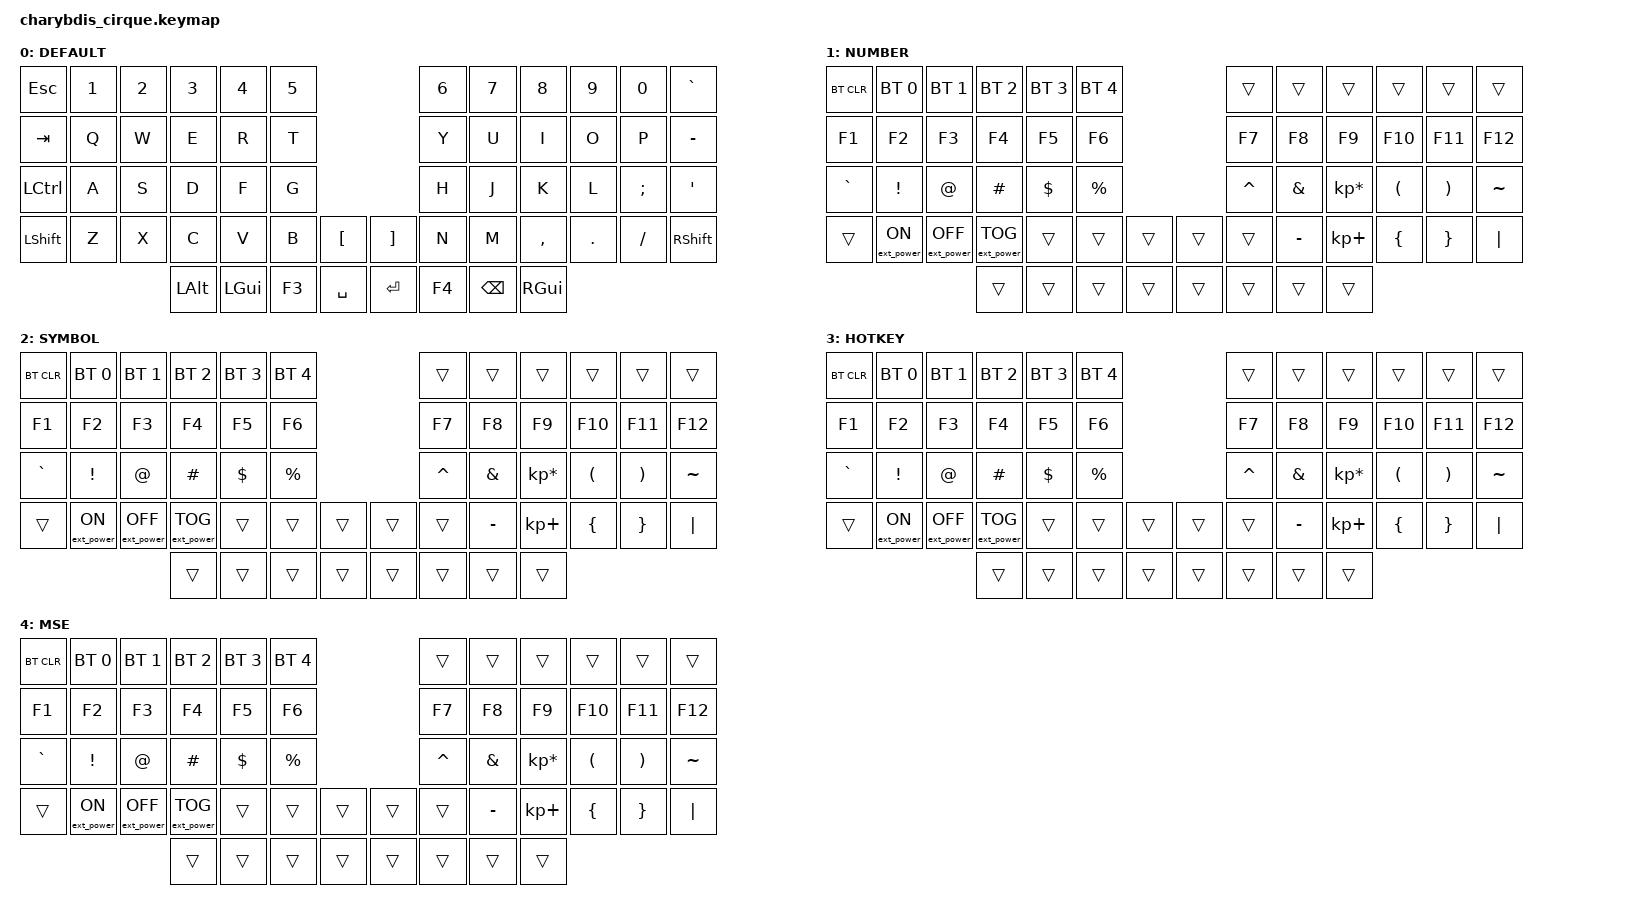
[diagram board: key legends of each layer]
#include <behaviors.dtsi>
#include <dt-bindings/zmk/mouse.h>
#include <dt-bindings/zmk/keys.h>
#include <dt-bindings/zmk/bt.h>
#include <dt-bindings/zmk/outputs.h>

// mouse move settings
#define MMV_U MOVE_VERT(-650)
#define MMV_D MOVE_VERT(650)
#define MMV_L MOVE_HOR(-650)
#define MMV_R MOVE_HOR(650)

&mmv {    
        time-to-max-speed-ms = <500>;
        acceleration-exponent=<1>;
};

// mouse wheel settings
#define MWH_U SCROLL_VERT(15)
#define MWH_D SCROLL_VERT(-15)
#define MWH_L SCROLL_HOR(-15)
#define MWH_R SCROLL_HOR(15)

&mwh {    
        time-to-max-speed-ms = <2000>;
        acceleration-exponent=<0>;
};

#define DEFAULT 0
#define NUMBER  1
#define SYMBOL  2
#define HOTKEY  3
#define MSE     4

#define AS(keycode) &as LS(keycode) keycode

/ {
        behaviors {
        td0: tap_dance_0 {
            compatible = "zmk,behavior-tap-dance";
            label = "TAP_DANCE_0";
            #binding-cells = <0>;
            tapping-term-ms = <200>;
            bindings = <&kp ESC>, <&kp TAB>;
        };
    };  

         behaviors {
       as: auto_shift {
        compatible = "zmk,behavior-hold-tap";
        label = "AUTO_SHIFT";
        #binding-cells = <2>;
        tapping-term-ms = <200>;
        quick-tap-ms = <0>;
        flavor = "tap-preferred";
        bindings = <&kp>, <&kp>;
                };             
modcp: mod_copy {
        compatible = "zmk,behavior-mod-morph";
        label = "MOD_COPY";
        #binding-cells = <0>;
        bindings = <&as LS(C) C>, <&kp C>;
        mods = <(LGUI | RGUI)>;
};
        };


    macros {
        macro_phone: macro_phone {
            // 1351
            label = "MACRO_PHONE";
            compatible = "zmk,behavior-macro";
            #binding-cells = <0>;
            bindings
                = < &kp N1 &kp N3 &kp N5  &kp N1>
                ;
        };
        macro_email_q: macro_email_q {
            // 2894512440@qq.com
            label = "MACRO_EMAIL_QQ";
            compatible = "zmk,behavior-macro";
            #binding-cells = <0>;
            bindings 
                = < &kp N2 &kp N8 &kp N9 &kp N4 &kp N5 &kp  N1 &kp N2 &kp N4 &kp N4 &kp N0 
                    &kp AT &kp Q &kp Q &kp DOT  &kp C &kp O &kp M>
                ;
        };
        macro_email_g: macro_email_g {
            // 135115
            compatible = "zmk,behavior-macro";
            label = "MACRO_EMAIL_GMAIL";
            #binding-cells = <0>;
            bindings
                = < &kp N1 &kp N3 &kp N5  &kp N1 &kp N1 &kp N5 > ;
        };
       
    };
    
     combos {
        compatible = "zmk,combos";
        combo_esc {
            timeout-ms = <50>;
            key-positions = <2 38>;
            bindings = <&kp TAB>;
        };
             combo_rgui {
            timeout-ms = <50>;
            key-positions = <3 38>;
            bindings = <&kp CAPS>;
        };
        
         combo_LSHFT {
            timeout-ms = <50>;
            key-positions = <14 38>;
            bindings = <&kp  LSHFT>;
        };
       
         combo_2 {
            timeout-ms = <50>;
            key-positions = <15 38>;
            bindings = <&kp N2 >;
        };
         combo_3 {
            timeout-ms = <50>;
            key-positions = <16 38>;
            bindings = <&kp N3>;
        };
            combo_LGUI {
            timeout-ms = <50>;
            key-positions = <26 38>;
            bindings = <&kp LGUI>;
        };
              combo_GUI {
            timeout-ms = <50>;
            key-positions = <27 38>;
            bindings = <&tog 1>;
        };
                  combo_G {
            timeout-ms = <50>;
            key-positions = <14 39>;
            bindings = <&mo 4>;
        };
                  combo_GU {
            timeout-ms = <50>;
            key-positions = <14 39>;
            bindings = <&mo 2>;
        };
                      combo_m {
            timeout-ms = <50>;
            key-positions = <21 41>;
            bindings = <&mo 4>;
        };
        
  
   };



    keymap {
       compatible = "zmk,keymap";
       default_layer {
            label = "DEFAULT";
            bindings = <
&kp ESC   &kp N1 &kp N2 &kp N3   &kp N4   &kp N5                     &kp N6 &kp N7   &kp N8    &kp N9  &kp N0   &kp GRAVE
&kp TAB   &kp Q  &kp W  &kp E    &kp R    &kp T                      &kp Y  &kp U    &kp I     &kp O   &kp P    &kp MINUS
&kp LCTRL &kp A  &kp S  &kp D    &kp F    &kp G                      &kp H  &kp J    &kp K     &kp L   &kp SEMI &kp SQT
&kp LSHFT &kp Z  &kp X  &kp C    &kp V    &kp B  &kp LBKT   &kp RBKT &kp N  &kp M    &kp COMMA &kp DOT &kp FSLH &kp RSHFT
                        &kp LALT &kp LGUI &kp F3 &kp SPACE  &kp RET  &kp F4 &kp BSPC &kp RGUI
            >;
        };  


          number_layer {
            label = "NUMBER";
            bindings = <
&bt BT_CLR &bt BT_SEL 0     &bt BT_SEL 1      &bt BT_SEL 2      &bt BT_SEL 3 &bt BT_SEL 4                 &trans    &trans    &trans          &trans    &trans    &trans
&kp F1     &kp F2           &kp F3            &kp F4            &kp F5       &kp F6                       &kp F7    &kp F8    &kp F9          &kp F10   &kp F11   &kp F12
&kp GRAVE  &kp EXCL         &kp AT            &kp HASH          &kp DOLLAR   &kp PRCNT                    &kp CARET &kp AMPS  &kp KP_MULTIPLY &kp LPAR  &kp RPAR  &kp TILDE
&trans     &ext_power EP_ON &ext_power EP_OFF &ext_power EP_TOG &trans       &trans    &trans   &trans    &trans    &kp MINUS &kp KP_PLUS     &kp LBRC  &kp RBRC  &kp PIPE
                                              &trans            &trans       &trans    &trans   &trans    &trans    &trans    &trans
            >;
        };

        symbol_layer {
            label = "SYMBOL";
            bindings = <
&bt BT_CLR &bt BT_SEL 0     &bt BT_SEL 1      &bt BT_SEL 2      &bt BT_SEL 3 &bt BT_SEL 4                 &trans    &trans    &trans          &trans    &trans    &trans
&kp F1     &kp F2           &kp F3            &kp F4            &kp F5       &kp F6                       &kp F7    &kp F8    &kp F9          &kp F10   &kp F11   &kp F12
&kp GRAVE  &kp EXCL         &kp AT            &kp HASH          &kp DOLLAR   &kp PRCNT                    &kp CARET &kp AMPS  &kp KP_MULTIPLY &kp LPAR  &kp RPAR  &kp TILDE
&trans     &ext_power EP_ON &ext_power EP_OFF &ext_power EP_TOG &trans       &trans    &trans   &trans    &trans    &kp MINUS &kp KP_PLUS     &kp LBRC  &kp RBRC  &kp PIPE
                                              &trans            &trans       &trans    &trans   &trans    &trans    &trans    &trans
            >;
        };


        hotkey_layer {
            label = "HOTKEY";
            bindings = <
&bt BT_CLR &bt BT_SEL 0     &bt BT_SEL 1      &bt BT_SEL 2      &bt BT_SEL 3 &bt BT_SEL 4                 &trans    &trans    &trans          &trans    &trans    &trans
&kp F1     &kp F2           &kp F3            &kp F4            &kp F5       &kp F6                       &kp F7    &kp F8    &kp F9          &kp F10   &kp F11   &kp F12
&kp GRAVE  &kp EXCL         &kp AT            &kp HASH          &kp DOLLAR   &kp PRCNT                    &kp CARET &kp AMPS  &kp KP_MULTIPLY &kp LPAR  &kp RPAR  &kp TILDE
&trans     &ext_power EP_ON &ext_power EP_OFF &ext_power EP_TOG &trans       &trans    &trans   &trans    &trans    &kp MINUS &kp KP_PLUS     &kp LBRC  &kp RBRC  &kp PIPE
                                              &trans            &trans       &trans    &trans   &trans    &trans    &trans    &trans
            >;
        };
        
            mouse_layer {
            label = "MSE";
            bindings = <
&bt BT_CLR &bt BT_SEL 0     &bt BT_SEL 1      &bt BT_SEL 2      &bt BT_SEL 3 &bt BT_SEL 4                 &trans    &trans    &trans          &trans    &trans    &trans
&kp F1     &kp F2           &kp F3            &kp F4            &kp F5       &kp F6                       &kp F7    &kp F8    &kp F9          &kp F10   &kp F11   &kp F12
&kp GRAVE  &kp EXCL         &kp AT            &kp HASH          &kp DOLLAR   &kp PRCNT                    &kp CARET &kp AMPS  &kp KP_MULTIPLY &kp LPAR  &kp RPAR  &kp TILDE
&trans     &ext_power EP_ON &ext_power EP_OFF &ext_power EP_TOG &trans       &trans    &trans   &trans    &trans    &kp MINUS &kp KP_PLUS     &kp LBRC  &kp RBRC  &kp PIPE
                                              &trans            &trans       &trans    &trans   &trans    &trans    &trans    &trans
            >;
        };
        
        
        
   };
};
